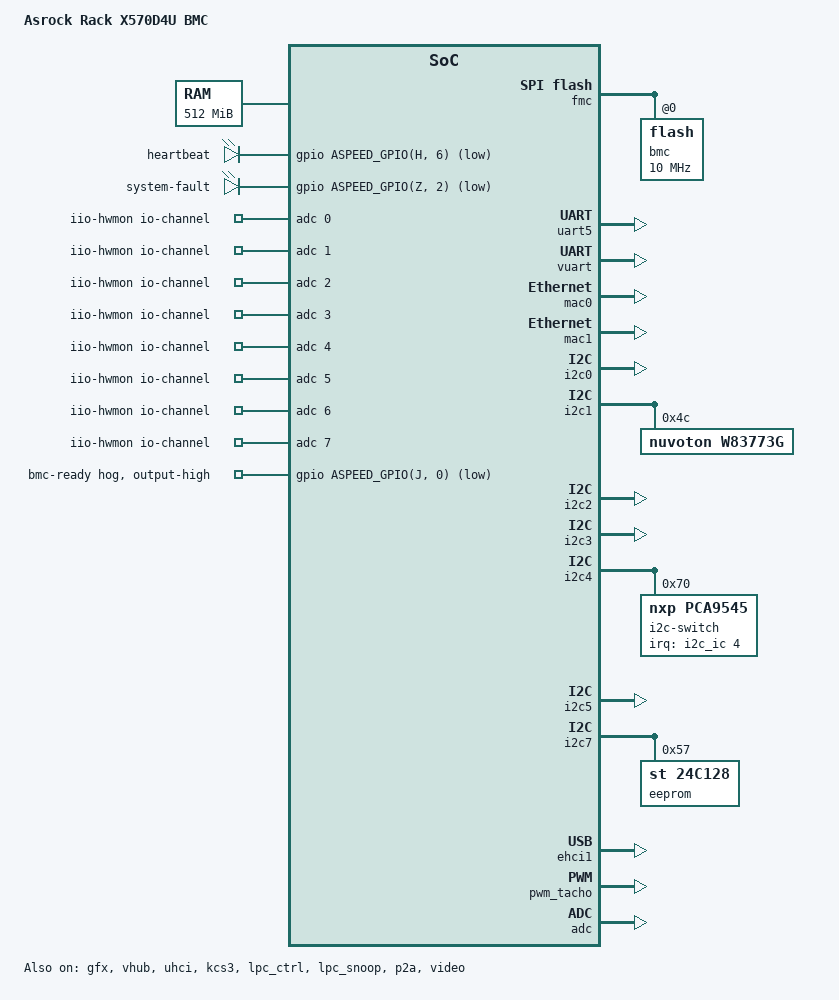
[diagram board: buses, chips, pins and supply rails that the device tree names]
// SPDX-License-Identifier: GPL-2.0+
/dts-v1/;
#include "aspeed-g5.dtsi"
#include <dt-bindings/gpio/aspeed-gpio.h>

/ {
	model = "Asrock Rack X570D4U BMC";
	compatible = "asrock,x570d4u-bmc";

	chosen {
			stdout-path = &uart5;
			bootargs = "console=ttyS4,115200 earlycon";
	};

	memory@80000000 {
			reg = <0x80000000 0x20000000>;
	};

	reserved-memory {
			#address-cells = <1>;
			#size-cells = <1>;
			ranges;

			flash_memory: region@98000000 {
					no-map;
					reg = <0x98000000 0x04000000>; /* 64M */
			};

			vga_memory: framebuffer@9f000000 {
				no-map;
				reg = <0x9f000000 0x01000000>; /* 16M */
			};

			pci_memory: region@9A000000 {
				no-map;
				reg = <0x9A000000 0x00010000>; /* 64K */
			};

			video_engine_memory: jpegbuffer {
				size = <0x02800000>;	/* 40M */
				alignment = <0x01000000>;
				compatible = "shared-dma-pool";
				reusable;
			};

			gfx_memory: framebuffer {
				size = <0x01000000>;
				alignment = <0x01000000>;
				compatible = "shared-dma-pool";
				reusable;
			};
	};

	leds {
		compatible = "gpio-leds";

		heartbeat {
			/* BMC_HB_LED_N */
			gpios = <&gpio ASPEED_GPIO(H, 6) GPIO_ACTIVE_LOW>;
			linux,default-trigger = "timer";
		};

		system-fault {
			/* SYSTEM_FAULT_LED_N */
			gpios = <&gpio ASPEED_GPIO(Z, 2) GPIO_ACTIVE_LOW>;
			panic-indicator;
		};
	};

	iio-hwmon {
		compatible = "iio-hwmon";
		io-channels = <&adc 0>, <&adc 1>, <&adc 2>, <&adc 3>, <&adc 4>,
			<&adc 5>, <&adc 6>, <&adc 7>, <&adc 8>, <&adc 9>,
			<&adc 10>, <&adc 11>, <&adc 12>;
	};
};

&gpio {
	status = "okay";
	gpio-line-names =
	/*A0-A3*/       "LOCATORLED_STATUS_N",    "",                     "NMI_BTN_N",          "BMC_NMI",
	/*A4-A7*/       "",                       "",                     "",                   "",
	/*B0-B3*/       "FM_BIOS_POST_CMPLT_N",   "",                     "",                   "",
	/*B4-B7*/       "",                       "IRQ_BMC_PCH_SMI_LPC_N","",                   "",
	/*C0-C3*/       "",                       "",                     "",                   "",
	/*C4-C7*/       "",                       "",                     "LOCATORBTN",         "",
	/*D0-D3*/       "BMC_PSIN",               "BMC_PSOUT",            "BMC_RESETCON",       "RESETCON",
	/*D4-D7*/       "",                       "",                     "",                   "",
	/*E0-E3*/       "",                       "",                     "",                   "",
	/*E4-E7*/       "",                       "",                     "",                   "",
	/*F0-F3*/       "",                       "",                     "",                   "",
	/*F4-F7*/       "",                       "",                     "",                   "",
	/*G0-G3*/       "HWM_BAT_EN",             "CHASSIS_ID0",          "CHASSIS_ID1",        "CHASSIS_ID2",
	/*G4-G7*/       "BMC_ALERT1_N_R",         "BMC_ALERT2_N_R",       "BMC_ALERT3_N",       "SML0ALERT",
	/*H0-H3*/       "",                       "O_PWROK",              "",                   "",
	/*H4-H7*/       "MFG_MODE_N",             "BMC_RTCRST",           "BMC_HB_LED_N",       "BMC_CASEOPEN",
	/*I0-I3*/       "",                       "",                     "",                   "",
	/*I4-I7*/       "",                       "",                     "",                   "",
	/*J0-J3*/       "BMC_READY",              "",                     "",                   "",
	/*J4-J7*/       "VGAHS",                  "VGAVS",                "DDCCLK",             "DDCDAT",
	/*K0-K3*/       "I2C_SCL4",               "I2C_SDA4",             "I2C_SCL5",           "I2C_SDA5",
	/*K4-K7*/       "",                       "",                     "I2C_SCL7",           "I2C_SDA7",
	/*L0-L3*/       "BMC_CTS1",               "BMC_DCD1",             "BMC_DSR1",           "BMC_RI1",
	/*L4-L7*/       "BMC_DTR1",               "BMC_RTS1",             "BMC_TXD1",           "BMC_RXD1",
	/*M0-M3*/       "BMC_LAN0_DIS_N",         "BMC_LAN1_DIS_N",       "",                   "",
	/*M4-M7*/       "",                       "",                     "",                   "",
	/*N0-N3*/       "PWM_FAN1",               "PWM_FAN2",             "PWM_FAN3",           "PWM_FAN4",
	/*N4-N7*/       "PWM_FAN6",               "PWM_FAN5",             "",                   "",
	/*O0-O3*/       "TACHO_FAN1",             "TACHO_FAN2",           "TACHO_FAN3",         "TACHO_FAN4",
	/*O4-O7*/       "TACHO_FAN5",             "TACHO_FAN6",           "",                   "",
	/*P0-P3*/       "",                       "",                     "",                   "PS_PWROK",
	/*P4-P7*/       "",                       "",                     "",                   "",
	/*Q0-Q3*/       "I2C_SCL2",               "I2C_SDA2",             "I2C_SCL3",           "I2C_SDA3",
	/*Q4-Q7*/       "BMC_SBM_PRESENT_1_N",    "BMC_SBM_PRESENT_2_N",  "BMC_SBM_PRESENT_3_N","BMC_PCIE_WAKE_N",
	/*R0-R3*/       "",                       "",                     "",                   "",
	/*R4-R7*/       "",                       "",                     "",                   "",
	/*S0-S3*/       "PCHHOT_BMC_N",           "",                     "RSMRST",             "",
	/*S4-S7*/       "",                       "",                     "",                   "",
	/*T0-T3*/       "RGMII1TXCK",             "RGMII1TXCL",           "RGMII1TXD0",         "RGMII1TXD1",
	/*T4-T7*/       "RGMII1TXD2",            "RGMII1TXD3",           "RMII2RCLKO",         "RMII2TXEN",
	/*U0-U3*/       "RMII2TXD0",              "RMII2TXD1",            "",                   "",
	/*U4-U7*/       "RGMII1RXCK",             "RGMII1RXCTL",          "RGMII1RXD0",         "RGMII1RXD1",
	/*V0-V3*/       "RGMII1RXD2",             "RGMII1RXD3",           "RMII2RCLKI",         "",
	/*V4-V7*/       "RMII2RXD0",              "RMII2RXD1",            "RMII2CRSDV",         "RMII2RXER",
	/*W0-W3*/       "",                       "",                     "",                   "",
	/*W4-W7*/       "",                       "",                     "",                   "",
	/*X0-X3*/       "",                       "",                     "",                   "",
	/*X4-X7*/       "",                       "",                     "",                   "",
	/*Y0-Y3*/       "SLP_S3",                 "SLP_S5",               "",                   "",
	/*Y4-Y7*/       "I2C_SCL0",               "I2C_SDA0",             "I2C_SCL1",           "I2C_SDA1",
	/*Z0-Z3*/       "",                       "",                     "SYSTEM_FAULT_LED_N", "BMC_THROTTLE_N",
	/*Z4-Z7*/       "",                       "",                     "",                   "",
	/*AA0-AA3*/     "CPU1_THERMTRIP_LATCH_N", "",                     "CPU1_PROCHOT_N",     "",
	/*AA4-AC7*/     "",                       "",                     "",                   "",
	/*AB0-AB3*/     "",                       "",                     "",                   "",
	/*AB4-AC7*/     "",                       "",                     "",                   "",
	/*AC0-AC3*/     "LAD0",                   "LAD1",                 "LAD2",               "LAD3",
	/*AC4-AC7*/     "CK_33M_BMC",             "LFRAME",               "SERIRQ",             "S_PLTRST";


	/* Assert BMC_READY so BIOS doesn't sit around waiting for it */
	bmc-ready {
		gpio-hog;
		gpios = <ASPEED_GPIO(J, 0) GPIO_ACTIVE_LOW>;
		output-high;
	};
};

&fmc {
	status = "okay";
	flash@0 {
			status = "okay";
			label = "bmc";
			m25p,fast-read;
			spi-max-frequency = <10000000>;
#include "openbmc-flash-layout-64.dtsi"
	};
};

&uart5 {
	status = "okay";
};

&vuart {
	status = "okay";
};

&mac0 {
	status = "okay";
	pinctrl-names = "default";
	pinctrl-0 = <&pinctrl_rgmii1_default &pinctrl_mdio1_default>;
};

&mac1 {
	status = "okay";
	pinctrl-names = "default";
	pinctrl-0 = <&pinctrl_rmii2_default &pinctrl_mdio2_default>;
	use-ncsi;
};

&i2c0 {
	status = "okay";
};

&i2c1 {
	status = "okay";

	w83773g@4c {
		compatible = "nuvoton,w83773g";
		reg = <0x4c>;
	};
};

&i2c2 {
	status = "okay";
};

&i2c3 {
	status = "okay";
};

&i2c4 {
	status = "okay";

	i2c-switch@70 {
		compatible = "nxp,pca9545";
		#address-cells = <1>;
		#size-cells = <0>;
		reg = <0x70>;

		interrupt-parent = <&i2c_ic>;
		interrupts = <4>;
		interrupt-controller;
		#interrupt-cells = <2>;

		i2c@0 {
			#address-cells = <1>;
			#size-cells = <0>;
			reg = <0>;
		};

		i2c@1 {
			#address-cells = <1>;
			#size-cells = <0>;
			reg = <1>;
		};

		i2c@2 {
			#address-cells = <1>;
			#size-cells = <0>;
			reg = <2>;
		};

		i2c@3 {
			#address-cells = <1>;
			#size-cells = <0>;
			reg = <3>;
		};
	};
};

&i2c5 {
	status = "okay";
};

&i2c7 {
	status = "okay";

	eeprom@57 {
		compatible = "st,24c128", "atmel,24c128";
		reg = <0x57>;
		pagesize = <16>;
	};
};

&gfx {
	status = "okay";
};

&pinctrl {
	aspeed,external-nodes = <&gfx &lhc>;
};

&vhub {
	status = "okay";
};

&ehci1 {
	status = "okay";
};
&uhci {
	status = "okay";
};

&kcs3 {
	aspeed,lpc-io-reg = <0xca2>;
	status = "okay";
};

&lpc_ctrl {
	status = "okay";
};

&lpc_snoop {
	status = "okay";
	snoop-ports = <0x80>;
};

&p2a {
	status = "okay";
	memory-region = <&pci_memory>;
};

&video {
	status = "okay";
	memory-region = <&video_engine_memory>;
};

&gfx {
	status = "okay";
	memory-region = <&gfx_memory>;
};

&pwm_tacho {
	status = "okay";
	pinctrl-names = "default";
	pinctrl-0 = <&pinctrl_pwm0_default
				&pinctrl_pwm1_default
				&pinctrl_pwm2_default
				&pinctrl_pwm3_default
				&pinctrl_pwm4_default
				&pinctrl_pwm5_default>;
	fan@0 {
		reg = <0x00>;
		aspeed,fan-tach-ch = /bits/ 8 <0x00 0x01>;
	};
	fan@1 {
		reg = <0x01>;
		aspeed,fan-tach-ch = /bits/ 8 <0x02 0x03>;
	};
	fan@2 {
		reg = <0x02>;
		aspeed,fan-tach-ch = /bits/ 8 <0x04 0x05>;
	};
	fan@3 {
		reg = <0x03>;
		aspeed,fan-tach-ch = /bits/ 8 <0x06 0x07>;
	};
	fan@4 {
		reg = <0x04>;
		aspeed,fan-tach-ch = /bits/ 8 <0x08 0x09>;
	};
	fan@5 {
		reg = <0x05>;
		aspeed,fan-tach-ch = /bits/ 8 <0x0a 0x0b>;
	};
};

&adc {
	status = "okay";
	pinctrl-names = "default";
	pinctrl-0 = <&pinctrl_adc0_default
				&pinctrl_adc1_default
				&pinctrl_adc2_default
				&pinctrl_adc3_default
				&pinctrl_adc4_default
				&pinctrl_adc5_default
				&pinctrl_adc6_default
				&pinctrl_adc7_default
				&pinctrl_adc8_default
				&pinctrl_adc9_default
				&pinctrl_adc10_default
				&pinctrl_adc11_default
				&pinctrl_adc12_default
				&pinctrl_adc13_default
				&pinctrl_adc14_default
				&pinctrl_adc15_default>;
};
